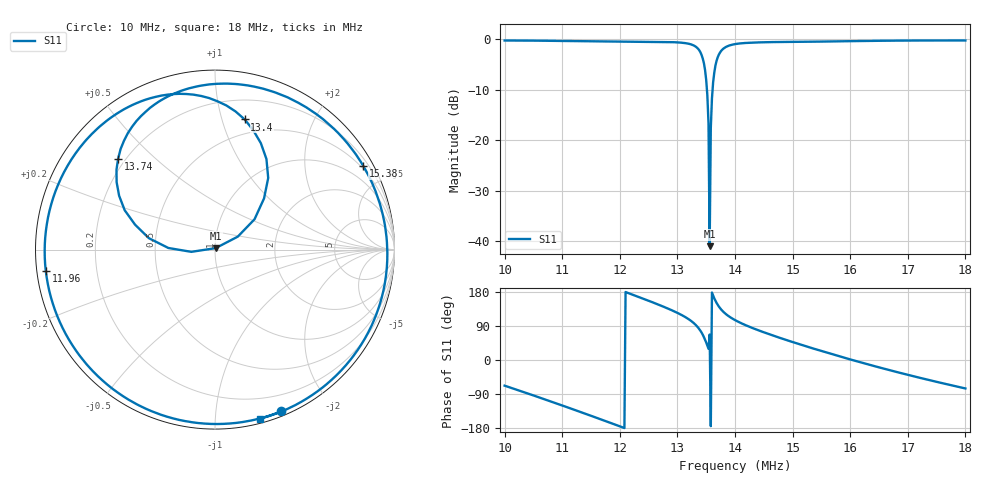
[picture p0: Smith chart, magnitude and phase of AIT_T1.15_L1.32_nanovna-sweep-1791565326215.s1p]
! NanoVNA Web complex sweep
! Processing: original sample grid, no browser smoothing
# Hz S RI R 50
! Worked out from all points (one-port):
!   401 points, 10 MHz to 18 MHz, reference 50 ohm
!   lowest |S11| = -41.0 dB at 13.56 MHz (marker M1), VSWR 1.02, Z = 50.3 + j0.824 ohm
!   |S11| at or under -10 dB: 13.51 MHz to 13.61 MHz (98.19 kHz wide, 0.724 % of centre)
!   S11 on the Smith chart (normalised r, x): 10 MHz: 0.04, -1.49; 11.96 MHz: 0.03, -0.06; 13.4 MHz: 0.37, +1.19; 13.74 MHz: 0.17, +0.38; 15.38 MHz: 0.41, +3.78; 18 MHz: 0.03, -1.30
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1e7  0.3696 -0.9012
1.05e7  -0.0586 -0.9693
1.1e7  -0.4822 -0.8357
1.15e7  -0.8039 -0.5182
1.196e7  -0.9426 -0.1195
1.2e7  -0.9463 -0.0825
1.252e7  -0.8582 0.3973
1.3e7  -0.5267 0.7702
1.326e7  -0.1603 0.8669
1.34e7  0.1658 0.7249
1.348e7  0.2964 0.3989
1.35e7  0.2732 0.2851
1.352e7  0.2202 0.1689
1.356e7  0.00345 0.00818
1.36e7  -0.26 0.00905
1.362e7  -0.3681 0.0635
1.364e7  -0.4453 0.1388
1.368e7  -0.5342 0.3
1.374e7  -0.54 0.5057
1.386e7  -0.4122 0.7439
1.4e7  -0.2378 0.865
1.442e7  0.2008 0.9114
1.5e7  0.6391 0.6948
1.538e7  0.827 0.4645
1.6e7  0.9585 0.0277
1.648e7  0.9169 -0.3086
1.7e7  0.7546 -0.6139
1.8e7  0.251 -0.9418
